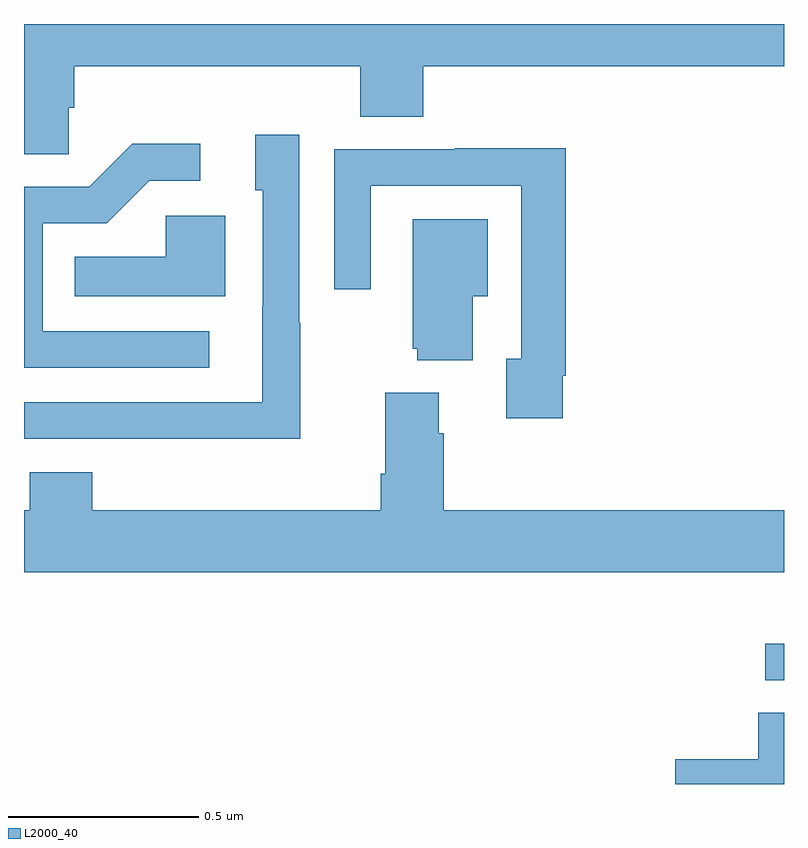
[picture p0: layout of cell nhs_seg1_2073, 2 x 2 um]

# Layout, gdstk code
import gdstk
lib = gdstk.Library(unit=1e-6, precision=1e-09)
def R(c, l, rs):  # rectangles x0, y0, x1, y1
    for r in rs: c.add(gdstk.rectangle(r[:2], r[2:], *l))
def P(c, l, *ps):  # polygons
    for p in ps: c.add(gdstk.Polygon(p, *l))
L2000_40 = (2000, 40)

nhs_seg1_2073 = lib.new_cell('nhs_seg1_2073')
R(nhs_seg1_2073, L2000_40, [(138.951,527.472,139,527.568)])
P(nhs_seg1_2073, L2000_40, [(137.118,528.979),(137.132,528.979),(137.132,529.088),(137.885,529.088),(137.885,528.955),(138.05,528.955),(138.05,529.088),(139,529.088),(139,529.199),(137,529.199),(137,528.856),(137.118,528.856)],
  [(137.727,528.413),(137.724,528.413),(137.724,528.907),(137.609,528.907),(137.609,528.762),(137.628,528.762),(137.628,528.458),(137.627,528.458),(137.627,528.204),(137,528.204),(137,528.108),(137.263,528.108),(137.263,528.107),(137.727,528.107)],
  [(137.488,528.39),(137.049,528.39),(137.049,528.675),(137.218,528.675),(137.329,528.786),(137.464,528.786),(137.464,528.884),(137.285,528.884),(137.172,528.771),(137,528.771),(137,528.294),(137.488,528.294)],
  [(138.418,528.274),(138.425,528.274),(138.425,528.872),(138.133,528.872),(138.133,528.87),(137.817,528.87),(137.817,528.501),(137.913,528.501),(137.913,528.774),(138.309,528.774),(138.309,528.318),(138.269,528.318),(138.269,528.162),(138.418,528.162)],
  [(137.53,528.694),(137.373,528.694),(137.373,528.586),(137.134,528.586),(137.134,528.482),(137.53,528.482)],
  [(138.181,528.482),(138.22,528.482),(138.22,528.685),(138.023,528.685),(138.023,528.345),(138.035,528.345),(138.035,528.314),(138.181,528.314)],
  [(139,527.92),(138.104,527.92),(138.104,528.122),(138.091,528.122),(138.091,528.229),(137.951,528.229),(137.951,528.016),(137.939,528.016),(137.939,527.92),(137.18,527.92),(137.18,528.019),(137.015,528.019),(137.015,527.92),(137,527.92),(137,527.756),(139,527.756)],
  [(139,527.387),(138.932,527.387),(138.932,527.264),(138.714,527.264),(138.714,527.199),(139,527.199)])

lib.write_gds('nhs_seg1_2073.gds')
